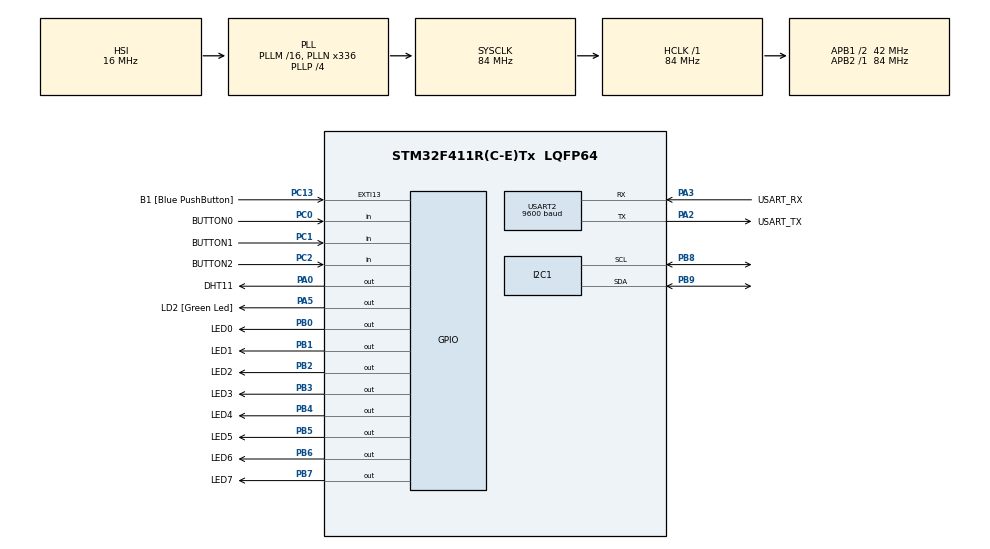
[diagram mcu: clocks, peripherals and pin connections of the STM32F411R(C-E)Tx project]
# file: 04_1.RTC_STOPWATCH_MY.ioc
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FREERTOS.Tasks01=defaultTask,24,128,StartDefaultTask,Default,NULL,Dynamic,NULL,NULL;myTask01,8,128,StartTask01,Default,NULL,Dynamic,NULL,NULL;myTask02,8,128,StartTask02,Default,NULL,Dynamic,NULL,NULL
FREERTOS.configUSE_NEWLIB_REENTRANT=1
Mcu.Family=STM32F4
Mcu.Name=STM32F411R(C-E)Tx
Mcu.Package=LQFP64
NVIC.PriorityGroup=NVIC_PRIORITYGROUP_4
NVIC.TIM1_UP_TIM10_IRQn=true\:5\:0\:false\:false\:true\:false\:false\:true
NVIC.TIM2_IRQn=true\:5\:0\:false\:false\:true\:true\:true\:true
NVIC.TimeBase=TIM1_UP_TIM10_IRQn
NVIC.TimeBaseIP=TIM10
NVIC.USART2_IRQn=true\:5\:0\:false\:false\:true\:true\:true\:true
PA0-WKUP.GPIO_Label=DHT11
PA0-WKUP.Signal=GPIO_Output
PA13.GPIO_Label=TMS
PA13.Mode=Serial_Wire
PA13.Signal=SYS_JTMS-SWDIO
PA14.GPIO_Label=TCK
PA14.Mode=Serial_Wire
PA14.Signal=SYS_JTCK-SWCLK
PA2.GPIO_Label=USART_TX
PA2.Mode=Asynchronous
PA2.Signal=USART2_TX
PA3.GPIO_Label=USART_RX
PA3.Mode=Asynchronous
PA3.Signal=USART2_RX
PA5.GPIO_Label=LD2 [Green Led]
PA5.Signal=GPIO_Output
PB0.GPIO_Label=LED0
PB0.Signal=GPIO_Output
PB1.GPIO_Label=LED1
PB1.Signal=GPIO_Output
PB2.GPIO_Label=LED2
PB2.Signal=GPIO_Output
PB3.GPIO_Label=LED3
PB3.Signal=GPIO_Output
PB4.GPIO_Label=LED4
PB4.Signal=GPIO_Output
PB5.GPIO_Label=LED5
PB5.Signal=GPIO_Output
PB6.GPIO_Label=LED6
PB6.Signal=GPIO_Output
PB7.GPIO_Label=LED7
PB7.Signal=GPIO_Output
PB8.Mode=I2C
PB8.Signal=I2C1_SCL
PB9.Mode=I2C
PB9.Signal=I2C1_SDA
PC0.GPIO_Label=BUTTON0
PC0.Signal=GPIO_Input
PC1.GPIO_Label=BUTTON1
PC1.Signal=GPIO_Input
PC13-ANTI_TAMP.GPIO_Label=B1 [Blue PushButton]
PC13-ANTI_TAMP.GPIO_ModeDefaultEXTI=GPIO_MODE_IT_FALLING
PC13-ANTI_TAMP.Signal=GPXTI13
PC14-OSC32_IN.Mode=LSE-External-Oscillator
PC14-OSC32_IN.Signal=RCC_OSC32_IN
PC15-OSC32_OUT.Mode=LSE-External-Oscillator
PC15-OSC32_OUT.Signal=RCC_OSC32_OUT
PC2.GPIO_Label=BUTTON2
PC2.Signal=GPIO_Input
PH0\ -\ OSC_IN.Mode=HSE-External-Clock-Source
PH0\ -\ OSC_IN.Signal=RCC_OSC_IN
PH1\ -\ OSC_OUT.Mode=HSE-External-Clock-Source
PH1\ -\ OSC_OUT.Signal=RCC_OSC_OUT
ProjectManager.HeapSize=0x200
ProjectManager.StackSize=0x400
ProjectManager.TargetToolchain=STM32CubeIDE
RCC.48MHZClocksFreq_Value=84000000
RCC.AHBFreq_Value=84000000
RCC.APB1CLKDivider=RCC_HCLK_DIV2
RCC.APB1Freq_Value=42000000
RCC.APB1TimFreq_Value=84000000
RCC.APB2Freq_Value=84000000
RCC.APB2TimFreq_Value=84000000
RCC.CortexFreq_Value=84000000
RCC.FLatency-AdvancedSettings=FLASH_LATENCY_2
RCC.HCLKFreq_Value=84000000
RCC.HSE_VALUE=8000000
RCC.HSI_VALUE=16000000
RCC.PLLN=336
RCC.PLLP=RCC_PLLP_DIV4
RCC.SYSCLKFreq_VALUE=84000000
RCC.SYSCLKSource=RCC_SYSCLKSOURCE_PLLCLK
RCC.VCOOutputFreq_Value=336000000
RTC.Date=24
RTC.Hours=13
RTC.Minutes=22
RTC.Month=RTC_MONTH_MAY
RTC.WeekDay=RTC_WEEKDAY_FRIDAY
RTC.Year=24
TIM11.Period=65535
TIM11.Prescaler=84-1
TIM2.Period=1000-1
TIM2.Prescaler=84-1
USART2.BaudRate=9600
USART2.VirtualMode=VM_ASYNC
VP_FREERTOS_VS_CMSIS_V2.Mode=CMSIS_V2
VP_RTC_VS_RTC_Activate.Mode=RTC_Enabled
VP_RTC_VS_RTC_Calendar.Mode=RTC_Calendar
VP_SYS_VS_tim10.Mode=TIM10
VP_TIM11_VS_ClockSourceINT.Mode=Enable_Timer
VP_TIM2_VS_ClockSourceINT.Mode=Internal
board=NUCLEO-F411RE

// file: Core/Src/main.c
/* USER CODE BEGIN Header */
/**
  ******************************************************************************
  * @file           : main.c
  * @brief          : Main program body
  ******************************************************************************
  * @attention
  *
  * <h2><center>&copy; Copyright (c) 2024 STMicroelectronics.
  * All rights reserved.</center></h2>
  *
  * This software component is licensed by ST under BSD 3-Clause license,
  * the "License"; You may not use this file except in compliance with the
  * License. You may obtain a copy of the License at:
  *                        opensource.org/licenses/BSD-3-Clause
  *
  ******************************************************************************
  */
/* USER CODE END Header */
#include "main.h"
#include "cmsis_os.h"
#include "i2c_lcd.h"
#include "def.h"

I2C_HandleTypeDef hi2c1;

RTC_HandleTypeDef hrtc;

TIM_HandleTypeDef htim2;
TIM_HandleTypeDef htim11;

UART_HandleTypeDef huart2;

/* Definitions for defaultTask */
osThreadId_t defaultTaskHandle;
const osThreadAttr_t defaultTask_attributes = {
  .name = "defaultTask",
  .stack_size = 128 * 4,
  .priority = (osPriority_t) osPriorityNormal,
};
/* Definitions for myTask01 */
osThreadId_t myTask01Handle;
const osThreadAttr_t myTask01_attributes = {
  .name = "myTask01",
  .stack_size = 128 * 4,
  .priority = (osPriority_t) osPriorityLow,
};
/* Definitions for myTask02 */
osThreadId_t myTask02Handle;
const osThreadAttr_t myTask02_attributes = {
  .name = "myTask02",
  .stack_size = 128 * 4,
  .priority = (osPriority_t) osPriorityLow,
};
/* USER CODE BEGIN PV */
uint8_t rx_data;
Stopwatch stopwatch = {0,0,STOPWATCH_IDLE};
Stopwatch* main_stopwatch_ptr = &stopwatch;

Min2Sec_Clock min2sec_clock = {0,0,CLOCK_RUNNING};
Min2Sec_Clock* main_min2secClock_ptr = &min2sec_clock;

volatile int TIM2_1ms_counter=0;
volatile int TIM2_sec_counter=0;
volatile int TIM3_10ms_counter = 0;
/* USER CODE END PV */

void SystemClock_Config(void);
static void MX_GPIO_Init(void);
static void MX_USART2_UART_Init(void);
static void MX_TIM11_Init(void);
static void MX_TIM2_Init(void);
static void MX_RTC_Init(void);
static void MX_I2C1_Init(void);
void StartDefaultTask(void *argument);
void StartTask01(void *argument);
void StartTask02(void *argument);

/* USER CODE BEGIN PFP */
extern void led_all_on(void);
extern void led_all_off(void);
extern void led2_toggle(void);
extern void led_on_up();
extern void led_on_down();
extern void ledbar0_toggle(void);
extern void ledbar1_toggle(void);
extern void ledbar2_toggle(void);
extern void led_main(void);
extern void button0_check(void);
extern void delay_us(unsigned int us);
extern void DHT11_Init(void);
extern void i2c_lcd_init(void);
void get_rtc_date_time(Stopwatch* pStopwatch, Min2Sec_Clock* pMin2sec_clock);
extern unsigned char bcd2dec(unsigned char byte);
extern void pc_command_processing();
extern void btn_check(void);

/* USER CODE END PFP */

/* USER CODE BEGIN 0 */
//-- call by SysTick_Handler of stm32f4xx_it.c
// SysTick_Handler : ARM core default timer
volatile int t1ms_counter=0;
void HAL_SYSTICK_Handler()
{
	t1ms_counter++;   // 1ms timer counter
}
//------------ printf start -----------------------
#ifdef __GNUC__    // Add for printf
/* With GCC, small printf (option LD Linker->Libraries->Small printf
   set to 'Yes') calls __io_putchar() */
#define PUTCHAR_PROTOTYPE int __io_putchar(int ch)
#else
#define PUTCHAR_PROTOTYPE int fputc(int ch, FILE *f)
#endif /* __GNUC__ */
/**
  * @brief  Retargets the C library printf function to the USART.
  * @param  None
  * @retval None
  */
PUTCHAR_PROTOTYPE   // Add for printf
{
  /* Place your implementation of fputc here */
  /* e.g. write a character to the USART2 and Loop until the end of transmission */
  HAL_UART_Transmit(&huart2, (uint8_t *)&ch, 1, 0xFFFF);

  return ch;
}
//-------------------- printf end --------------------
/* USER CODE END 0 */

int main(void)
{

  /* MCU Configuration--------------------------------------------------------*/

  /* Reset of all peripherals, Initializes the Flash interface and the Systick. */
  HAL_Init();

  /* Configure the system clock */
  SystemClock_Config();

  /* Initialize all configured peripherals */
  MX_GPIO_Init();
  MX_USART2_UART_Init();
  MX_TIM11_Init();
  MX_TIM2_Init();
  MX_RTC_Init();
  MX_I2C1_Init();
  /* USER CODE BEGIN 2 */
  HAL_UART_Receive_IT(&huart2, &rx_data, 1);   // assign RX INT
  HAL_TIM_Base_Start_IT(&htim2);  // ADD_SIKWON_0523
  HAL_TIM_Base_Start_IT(&htim11);  // ADD_SIKWON_0523
  DHT11_Init();
  i2c_lcd_init(); // warning lcd should be connected(because I2C protocol doesn't working)
  /* USER CODE END 2 */

  /* Init scheduler */
  osKernelInitialize();

  /* Create the thread(s) */
  /* creation of defaultTask */
  defaultTaskHandle = osThreadNew(StartDefaultTask, NULL, &defaultTask_attributes);

  /* creation of myTask01 */
  myTask01Handle = osThreadNew(StartTask01, NULL, &myTask01_attributes);

  /* creation of myTask02 */
  myTask02Handle = osThreadNew(StartTask02, NULL, &myTask02_attributes);

  /* Start scheduler */
  osKernelStart();

  /* We should never get here as control is now taken by the scheduler */
  /* Infinite loop */
  /* USER CODE BEGIN WHILE */
  while (1)
  {
//	  led_on_up();
//	  led_on_down();

#if 0
	  if (t1ms_counter >= 500)
	  {
		  t1ms_counter=0;
		  switch(led_state)
		  {
		  case 0:
			  led_all_on();
			  break;
		  case 1:
			  led_all_off();
			  break;
		  case 2:
			  led2_toggle();
			  break;
		  }
		  led_state++;
		  led_state %=3;
	  }
#endif
    /* USER CODE END WHILE */

    /* USER CODE BEGIN 3 */
// enter here !!!!!!
  }
  /* USER CODE END 3 */
}

void SystemClock_Config(void)
{
  RCC_OscInitTypeDef RCC_OscInitStruct = {0};
  RCC_ClkInitTypeDef RCC_ClkInitStruct = {0};

  /** Configure the main internal regulator output voltage
  */
  __HAL_RCC_PWR_CLK_ENABLE();
  __HAL_PWR_VOLTAGESCALING_CONFIG(PWR_REGULATOR_VOLTAGE_SCALE1);
  /** Initializes the RCC Oscillators according to the specified parameters
  * in the RCC_OscInitTypeDef structure.
  */
  RCC_OscInitStruct.OscillatorType = RCC_OSCILLATORTYPE_HSI|RCC_OSCILLATORTYPE_LSI;
  RCC_OscInitStruct.HSIState = RCC_HSI_ON;
  RCC_OscInitStruct.HSICalibrationValue = RCC_HSICALIBRATION_DEFAULT;
  RCC_OscInitStruct.LSIState = RCC_LSI_ON;
  RCC_OscInitStruct.PLL.PLLState = RCC_PLL_ON;
  RCC_OscInitStruct.PLL.PLLSource = RCC_PLLSOURCE_HSI;
  RCC_OscInitStruct.PLL.PLLM = 16;
  RCC_OscInitStruct.PLL.PLLN = 336;
  RCC_OscInitStruct.PLL.PLLP = RCC_PLLP_DIV4;
  RCC_OscInitStruct.PLL.PLLQ = 4;
  if (HAL_RCC_OscConfig(&RCC_OscInitStruct) != HAL_OK)
  {
    Error_Handler();
  }
  /** Initializes the CPU, AHB and APB buses clocks
  */
  RCC_ClkInitStruct.ClockType = RCC_CLOCKTYPE_HCLK|RCC_CLOCKTYPE_SYSCLK
                              |RCC_CLOCKTYPE_PCLK1|RCC_CLOCKTYPE_PCLK2;
  RCC_ClkInitStruct.SYSCLKSource = RCC_SYSCLKSOURCE_PLLCLK;
  RCC_ClkInitStruct.AHBCLKDivider = RCC_SYSCLK_DIV1;
  RCC_ClkInitStruct.APB1CLKDivider = RCC_HCLK_DIV2;
  RCC_ClkInitStruct.APB2CLKDivider = RCC_HCLK_DIV1;

  if (HAL_RCC_ClockConfig(&RCC_ClkInitStruct, FLASH_LATENCY_2) != HAL_OK)
  {
    Error_Handler();
  }
}

static void MX_I2C1_Init(void)
{

  hi2c1.Instance = I2C1;
  hi2c1.Init.ClockSpeed = 100000;
  hi2c1.Init.DutyCycle = I2C_DUTYCYCLE_2;
  hi2c1.Init.OwnAddress1 = 0;
  hi2c1.Init.AddressingMode = I2C_ADDRESSINGMODE_7BIT;
  hi2c1.Init.DualAddressMode = I2C_DUALADDRESS_DISABLE;
  hi2c1.Init.OwnAddress2 = 0;
  hi2c1.Init.GeneralCallMode = I2C_GENERALCALL_DISABLE;
  hi2c1.Init.NoStretchMode = I2C_NOSTRETCH_DISABLE;
  if (HAL_I2C_Init(&hi2c1) != HAL_OK)
  {
    Error_Handler();
  }

}

static void MX_RTC_Init(void)
{

  RTC_TimeTypeDef sTime = {0};
  RTC_DateTypeDef sDate = {0};

  /** Initialize RTC Only
  */
  hrtc.Instance = RTC;
  hrtc.Init.HourFormat = RTC_HOURFORMAT_24;
  hrtc.Init.AsynchPrediv = 127;
  hrtc.Init.SynchPrediv = 255;
  hrtc.Init.OutPut = RTC_OUTPUT_DISABLE;
  hrtc.Init.OutPutPolarity = RTC_OUTPUT_POLARITY_HIGH;
  hrtc.Init.OutPutType = RTC_OUTPUT_TYPE_OPENDRAIN;
  if (HAL_RTC_Init(&hrtc) != HAL_OK)
  {
    Error_Handler();
  }

  /** Initialize RTC and set the Time and Date
  */
  sTime.Hours = 0x13;
  sTime.Minutes = 0x22;
  sTime.Seconds = 0x0;
  sTime.DayLightSaving = RTC_DAYLIGHTSAVING_NONE;
  sTime.StoreOperation = RTC_STOREOPERATION_RESET;
  if (HAL_RTC_SetTime(&hrtc, &sTime, RTC_FORMAT_BCD) != HAL_OK)
  {
    Error_Handler();
  }
  sDate.WeekDay = RTC_WEEKDAY_FRIDAY;
  sDate.Month = RTC_MONTH_MAY;
  sDate.Date = 0x24;
  sDate.Year = 0x24;

  if (HAL_RTC_SetDate(&hrtc, &sDate, RTC_FORMAT_BCD) != HAL_OK)
  {
    Error_Handler();
  }

}

static void MX_TIM2_Init(void)
{

  TIM_ClockConfigTypeDef sClockSourceConfig = {0};
  TIM_MasterConfigTypeDef sMasterConfig = {0};

  htim2.Instance = TIM2;
  htim2.Init.Prescaler = 84-1;
  htim2.Init.CounterMode = TIM_COUNTERMODE_UP;
  htim2.Init.Period = 1000-1;
  htim2.Init.ClockDivision = TIM_CLOCKDIVISION_DIV1;
  htim2.Init.AutoReloadPreload = TIM_AUTORELOAD_PRELOAD_DISABLE;
  if (HAL_TIM_Base_Init(&htim2) != HAL_OK)
  {
    Error_Handler();
  }
  sClockSourceConfig.ClockSource = TIM_CLOCKSOURCE_INTERNAL;
  if (HAL_TIM_ConfigClockSource(&htim2, &sClockSourceConfig) != HAL_OK)
  {
    Error_Handler();
  }
  sMasterConfig.MasterOutputTrigger = TIM_TRGO_RESET;
  sMasterConfig.MasterSlaveMode = TIM_MASTERSLAVEMODE_DISABLE;
  if (HAL_TIMEx_MasterConfigSynchronization(&htim2, &sMasterConfig) != HAL_OK)
  {
    Error_Handler();
  }

}

static void MX_TIM11_Init(void)
{

  htim11.Instance = TIM11;
  htim11.Init.Prescaler = 84-1;
  htim11.Init.CounterMode = TIM_COUNTERMODE_UP;
  htim11.Init.Period = 65535;
  htim11.Init.ClockDivision = TIM_CLOCKDIVISION_DIV1;
  htim11.Init.AutoReloadPreload = TIM_AUTORELOAD_PRELOAD_DISABLE;
  if (HAL_TIM_Base_Init(&htim11) != HAL_OK)
  {
    Error_Handler();
  }

}

static void MX_USART2_UART_Init(void)
{

  huart2.Instance = USART2;
  huart2.Init.BaudRate = 9600;
  huart2.Init.WordLength = UART_WORDLENGTH_8B;
  huart2.Init.StopBits = UART_STOPBITS_1;
  huart2.Init.Parity = UART_PARITY_NONE;
  huart2.Init.Mode = UART_MODE_TX_RX;
  huart2.Init.HwFlowCtl = UART_HWCONTROL_NONE;
  huart2.Init.OverSampling = UART_OVERSAMPLING_16;
  if (HAL_UART_Init(&huart2) != HAL_OK)
  {
    Error_Handler();
  }

}

static void MX_GPIO_Init(void)
{
  GPIO_InitTypeDef GPIO_InitStruct = {0};

  /* GPIO Ports Clock Enable */
  __HAL_RCC_GPIOC_CLK_ENABLE();
  __HAL_RCC_GPIOH_CLK_ENABLE();
  __HAL_RCC_GPIOA_CLK_ENABLE();
  __HAL_RCC_GPIOB_CLK_ENABLE();

  /*Configure GPIO pin Output Level */
  HAL_GPIO_WritePin(GPIOA, DHT11_Pin|LD2_Pin, GPIO_PIN_RESET);

  /*Configure GPIO pin Output Level */
  HAL_GPIO_WritePin(GPIOB, LED0_Pin|LED1_Pin|LED2_Pin|LED3_Pin
                          |LED4_Pin|LED5_Pin|LED6_Pin|LED7_Pin, GPIO_PIN_RESET);

  /*Configure GPIO pin : B1_Pin */
  GPIO_InitStruct.Pin = B1_Pin;
  GPIO_InitStruct.Mode = GPIO_MODE_IT_FALLING;
  GPIO_InitStruct.Pull = GPIO_NOPULL;
  HAL_GPIO_Init(B1_GPIO_Port, &GPIO_InitStruct);

  /*Configure GPIO pins : BUTTON0_Pin BUTTON1_Pin BUTTON2_Pin */
  GPIO_InitStruct.Pin = BUTTON0_Pin|BUTTON1_Pin|BUTTON2_Pin;
  GPIO_InitStruct.Mode = GPIO_MODE_INPUT;
  GPIO_InitStruct.Pull = GPIO_NOPULL;
  HAL_GPIO_Init(GPIOC, &GPIO_InitStruct);

  /*Configure GPIO pins : DHT11_Pin LD2_Pin */
  GPIO_InitStruct.Pin = DHT11_Pin|LD2_Pin;
  GPIO_InitStruct.Mode = GPIO_MODE_OUTPUT_PP;
  GPIO_InitStruct.Pull = GPIO_NOPULL;
  GPIO_InitStruct.Speed = GPIO_SPEED_FREQ_LOW;
  HAL_GPIO_Init(GPIOA, &GPIO_InitStruct);

  /*Configure GPIO pins : LED0_Pin LED1_Pin LED2_Pin LED3_Pin
                           LED4_Pin LED5_Pin LED6_Pin LED7_Pin */
  GPIO_InitStruct.Pin = LED0_Pin|LED1_Pin|LED2_Pin|LED3_Pin
                          |LED4_Pin|LED5_Pin|LED6_Pin|LED7_Pin;
  GPIO_InitStruct.Mode = GPIO_MODE_OUTPUT_PP;
  GPIO_InitStruct.Pull = GPIO_NOPULL;
  GPIO_InitStruct.Speed = GPIO_SPEED_FREQ_LOW;
  HAL_GPIO_Init(GPIOB, &GPIO_InitStruct);

}

void StartDefaultTask(void *argument)
{
  /* USER CODE BEGIN 5 */
  /* Infinite loop */
  for(;;)  // while(1)
  {
	// state detected.
	  stop_watch_state_chk(&stopwatch,&min2sec_clock);
	  min2sec_clock_state_chk(&stopwatch,&min2sec_clock);
    osDelay(1);
  }
  /* USER CODE END 5 */
}

void StartTask01(void *argument)
{
  /* USER CODE BEGIN StartTask01 */
  /* Infinite loop */
  for(;;)
  {
	// about time information
	get_rtc_date_time(&stopwatch,&min2sec_clock);
	// led2_toggle();
    osDelay(1);
  }
  /* USER CODE END StartTask01 */
}

void StartTask02(void *argument)
{
  for(;;)
  {
	  osDelay(1);
  }
}

void HAL_TIM_PeriodElapsedCallback(TIM_HandleTypeDef *htim)
{
  /* USER CODE BEGIN Callback 0 */
//////
  /* USER CODE END Callback 0 */
  if (htim->Instance == TIM10) {
    HAL_IncTick();
  }
  /* USER CODE BEGIN Callback 1 */
	if (htim->Instance == TIM2)
	{
		if(main_stopwatch_ptr->state == STOPWATCH_RUNNING){
			main_stopwatch_ptr->ms_count++;
			if(main_stopwatch_ptr->ms_count >= 1000){
				main_stopwatch_ptr->ms_count = 0;
				main_stopwatch_ptr->sec_count++;
			}
		}
	}
  /* USER CODE END Callback 1 */
}

void Error_Handler(void)
{
  __disable_irq();
  while (1)
  {
  }
}

/************************ (C) COPYRIGHT STMicroelectronics *****END OF FILE****/
